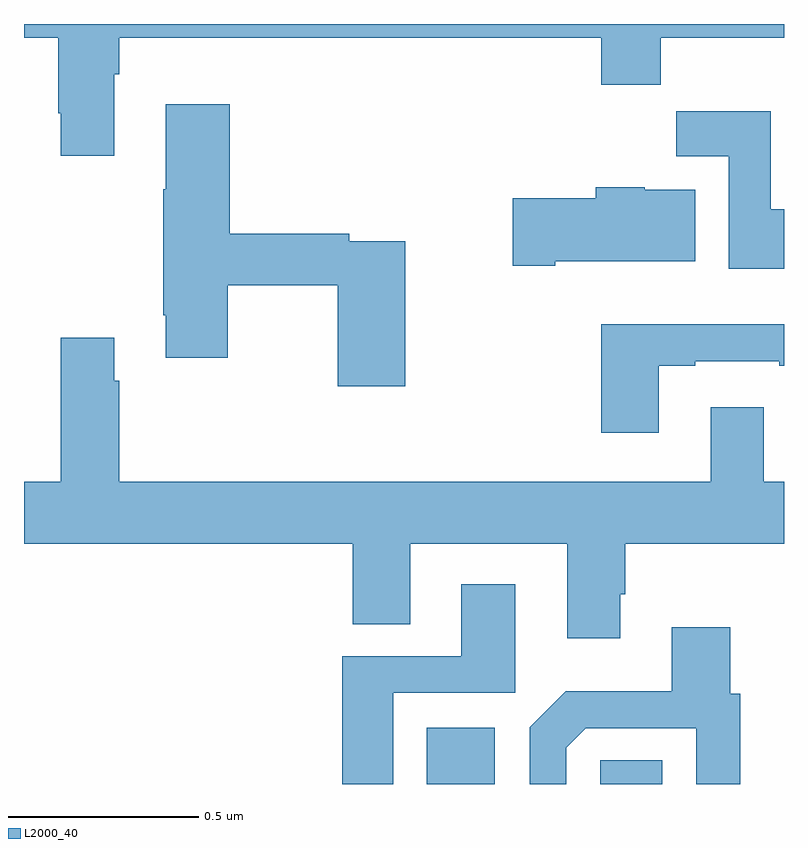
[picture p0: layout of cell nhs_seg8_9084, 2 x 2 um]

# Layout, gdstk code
import gdstk
lib = gdstk.Library(unit=1e-6, precision=1e-09)
def R(c, l, rs):  # rectangles x0, y0, x1, y1
    for r in rs: c.add(gdstk.rectangle(r[:2], r[2:], *l))
def P(c, l, *ps):  # polygons
    for p in ps: c.add(gdstk.Polygon(p, *l))
L2000_40 = (2000, 40)

nhs_seg8_9084 = lib.new_cell('nhs_seg8_9084')
R(nhs_seg8_9084, L2000_40, [(233.06,1083.9,233.239,1084.048), (233.517,1083.9,233.679,1083.962)])
P(nhs_seg8_9084, L2000_40, [(232.237,1085.768),(232.25,1085.768),(232.25,1085.864),(233.519,1085.864),(233.519,1085.74),(233.675,1085.74),(233.675,1085.864),(234,1085.864),(234,1085.9),(232,1085.9),(232,1085.864),(232.09,1085.864),(232.09,1085.665),(232.097,1085.665),(232.097,1085.553),(232.237,1085.553)],
  [(233.003,1085.328),(232.856,1085.328),(232.856,1085.348),(232.541,1085.348),(232.541,1085.689),(232.373,1085.689),(232.373,1085.465),(232.366,1085.465),(232.366,1085.134),(232.373,1085.134),(232.373,1085.022),(232.536,1085.022),(232.536,1085.212),(232.825,1085.212),(232.825,1084.947),(233.003,1084.947)],
  [(234,1085.412),(233.965,1085.412),(233.965,1085.671),(233.716,1085.671),(233.716,1085.552),(233.855,1085.552),(233.855,1085.256),(234,1085.256)],
  [(233.398,1085.276),(233.767,1085.276),(233.767,1085.464),(233.634,1085.464),(233.634,1085.47),(233.504,1085.47),(233.504,1085.442),(233.286,1085.442),(233.286,1085.264),(233.398,1085.264)],
  [(233.671,1085.001),(233.767,1085.001),(233.767,1085.013),(233.987,1085.013),(233.987,1085.001),(234,1085.001),(234,1085.11),(233.519,1085.11),(233.519,1084.824),(233.671,1084.824)],
  [(233.569,1084.399),(233.582,1084.399),(233.582,1084.532),(234,1084.532),(234,1084.696),(233.947,1084.696),(233.947,1084.891),(233.807,1084.891),(233.807,1084.696),(232.25,1084.696),(232.25,1084.961),(232.237,1084.961),(232.237,1085.074),(232.097,1085.074),(232.097,1084.696),(232,1084.696),(232,1084.532),(232.865,1084.532),(232.865,1084.321),(233.017,1084.321),(233.017,1084.532),(233.429,1084.532),(233.429,1084.284),(233.569,1084.284)],
  [(232.972,1084.14),(233.293,1084.14),(233.293,1084.426),(233.15,1084.426),(233.15,1084.236),(232.838,1084.236),(232.838,1083.9),(232.972,1083.9)],
  [(233.427,1083.996),(233.478,1084.047),(233.769,1084.047),(233.769,1083.9),(233.885,1083.9),(233.885,1084.137),(233.858,1084.137),(233.858,1084.312),(233.705,1084.312),(233.705,1084.144),(233.425,1084.144),(233.331,1084.05),(233.331,1083.9),(233.427,1083.9)])

lib.write_gds('nhs_seg8_9084.gds')
